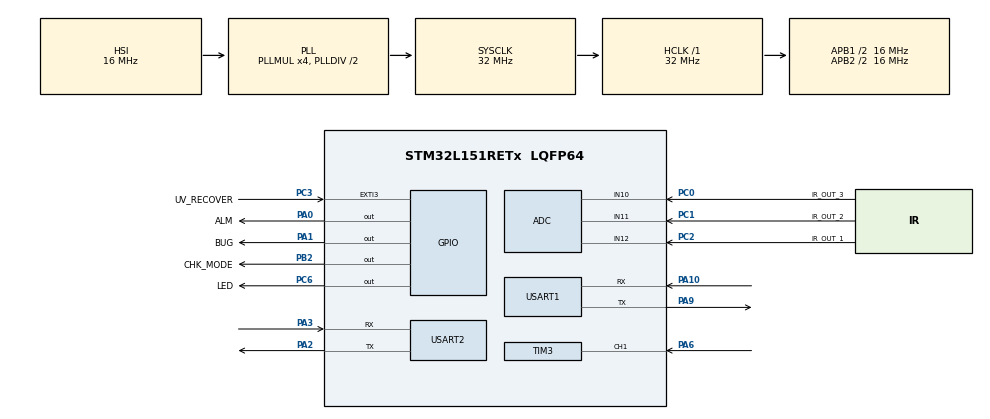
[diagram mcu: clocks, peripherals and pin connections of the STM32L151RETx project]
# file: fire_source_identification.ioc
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ADC.Channel-0\#ChannelRegularConversion=ADC_CHANNEL_12
ADC.Channel-1\#ChannelRegularConversion=ADC_CHANNEL_11
ADC.Channel-2\#ChannelRegularConversion=ADC_CHANNEL_10
ADC.ClockPrescaler=ADC_CLOCK_ASYNC_DIV4
ADC.ContinuousConvMode=ENABLE
ADC.DMAContinuousRequests=ENABLE
ADC.DiscontinuousConvMode=DISABLE
ADC.EOCSelection=ADC_EOC_SEQ_CONV
ADC.InjNumberOfConversion=0
ADC.NbrOfConversion=3
ADC.NbrOfConversionFlag=1
ADC.Rank-0\#ChannelRegularConversion=1
ADC.Rank-1\#ChannelRegularConversion=2
ADC.Rank-2\#ChannelRegularConversion=3
ADC.SamplingTime-0\#ChannelRegularConversion=ADC_SAMPLETIME_384CYCLES
ADC.SamplingTime-1\#ChannelRegularConversion=ADC_SAMPLETIME_384CYCLES
ADC.SamplingTime-2\#ChannelRegularConversion=ADC_SAMPLETIME_384CYCLES
ADC.ScanConvMode=ADC_SCAN_ENABLE
Dma.ADC.2.Direction=DMA_PERIPH_TO_MEMORY
Dma.ADC.2.Instance=DMA1_Channel1
Dma.ADC.2.MemDataAlignment=DMA_MDATAALIGN_HALFWORD
Dma.ADC.2.MemInc=DMA_MINC_ENABLE
Dma.ADC.2.Mode=DMA_CIRCULAR
Dma.ADC.2.PeriphDataAlignment=DMA_PDATAALIGN_HALFWORD
Dma.ADC.2.PeriphInc=DMA_PINC_DISABLE
Dma.ADC.2.Priority=DMA_PRIORITY_LOW
Dma.Request0=USART1_RX
Dma.Request1=USART1_TX
Dma.Request2=ADC
Dma.Request3=USART2_RX
Dma.Request4=USART2_TX
Dma.USART1_RX.0.Direction=DMA_PERIPH_TO_MEMORY
Dma.USART1_RX.0.Instance=DMA1_Channel5
Dma.USART1_RX.0.MemDataAlignment=DMA_MDATAALIGN_BYTE
Dma.USART1_RX.0.MemInc=DMA_MINC_ENABLE
Dma.USART1_RX.0.Mode=DMA_CIRCULAR
Dma.USART1_RX.0.PeriphDataAlignment=DMA_PDATAALIGN_BYTE
Dma.USART1_RX.0.PeriphInc=DMA_PINC_DISABLE
Dma.USART1_RX.0.Priority=DMA_PRIORITY_LOW
Dma.USART1_TX.1.Direction=DMA_MEMORY_TO_PERIPH
Dma.USART1_TX.1.Instance=DMA1_Channel4
Dma.USART1_TX.1.MemDataAlignment=DMA_MDATAALIGN_BYTE
Dma.USART1_TX.1.MemInc=DMA_MINC_ENABLE
Dma.USART1_TX.1.Mode=DMA_NORMAL
Dma.USART1_TX.1.PeriphDataAlignment=DMA_PDATAALIGN_BYTE
Dma.USART1_TX.1.PeriphInc=DMA_PINC_DISABLE
Dma.USART1_TX.1.Priority=DMA_PRIORITY_LOW
Dma.USART2_RX.3.Direction=DMA_PERIPH_TO_MEMORY
Dma.USART2_RX.3.Instance=DMA1_Channel6
Dma.USART2_RX.3.MemDataAlignment=DMA_MDATAALIGN_BYTE
Dma.USART2_RX.3.MemInc=DMA_MINC_ENABLE
Dma.USART2_RX.3.Mode=DMA_CIRCULAR
Dma.USART2_RX.3.PeriphDataAlignment=DMA_PDATAALIGN_BYTE
Dma.USART2_RX.3.PeriphInc=DMA_PINC_DISABLE
Dma.USART2_RX.3.Priority=DMA_PRIORITY_MEDIUM
Dma.USART2_TX.4.Direction=DMA_MEMORY_TO_PERIPH
Dma.USART2_TX.4.Instance=DMA1_Channel7
Dma.USART2_TX.4.MemDataAlignment=DMA_MDATAALIGN_BYTE
Dma.USART2_TX.4.MemInc=DMA_MINC_ENABLE
Dma.USART2_TX.4.Mode=DMA_NORMAL
Dma.USART2_TX.4.PeriphDataAlignment=DMA_PDATAALIGN_BYTE
Dma.USART2_TX.4.PeriphInc=DMA_PINC_DISABLE
Dma.USART2_TX.4.Priority=DMA_PRIORITY_MEDIUM
IWDG.Prescaler=IWDG_PRESCALER_256
IWDG.Reload=1563
Mcu.Family=STM32L1
Mcu.Name=STM32L151RETx
Mcu.Package=LQFP64
NVIC.DMA1_Channel1_IRQn=true\:0\:0\:false\:false\:true\:false\:true\:true
NVIC.DMA1_Channel4_IRQn=true\:0\:0\:false\:false\:true\:false\:true\:true
NVIC.DMA1_Channel5_IRQn=true\:0\:0\:false\:false\:true\:false\:true\:true
NVIC.DMA1_Channel6_IRQn=true\:0\:0\:false\:false\:true\:false\:true\:true
NVIC.DMA1_Channel7_IRQn=true\:0\:0\:false\:false\:true\:false\:true\:true
NVIC.EXTI3_IRQn=true\:4\:0\:true\:false\:true\:true\:true\:true
NVIC.PriorityGroup=NVIC_PRIORITYGROUP_4
NVIC.TIM3_IRQn=true\:3\:0\:true\:false\:true\:true\:true\:true
NVIC.TIM5_IRQn=true\:2\:0\:true\:false\:true\:true\:true\:true
NVIC.TIM6_IRQn=true\:2\:0\:true\:false\:true\:true\:true\:true
NVIC.USART1_IRQn=true\:5\:0\:true\:false\:true\:false\:true\:true
NVIC.USART2_IRQn=true\:5\:0\:true\:false\:true\:true\:true\:true
PA0-WKUP1.GPIO_Label=ALM
PA0-WKUP1.GPIO_OutputLevel=GPIO_PIN_SET
PA0-WKUP1.GPIO_PuPd=GPIO_PULLUP
PA0-WKUP1.GPIO_Speed=GPIO_SPEED_FREQ_HIGH
PA0-WKUP1.PinState=GPIO_PIN_SET
PA0-WKUP1.Signal=GPIO_Output
PA1.GPIO_Label=BUG
PA1.GPIO_PuPd=GPIO_PULLUP
PA1.GPIO_Speed=GPIO_SPEED_FREQ_HIGH
PA1.PinState=GPIO_PIN_SET
PA1.Signal=GPIO_Output
PA10.Mode=Asynchronous
PA10.Signal=USART1_RX
PA13.Mode=Serial_Wire
PA13.Signal=SYS_JTMS-SWDIO
PA14.Mode=Serial_Wire
PA14.Signal=SYS_JTCK-SWCLK
PA2.Mode=Asynchronous
PA2.Signal=USART2_TX
PA3.Mode=Asynchronous
PA3.Signal=USART2_RX
PA6.Signal=S_TIM3_CH1
PA9.Mode=Asynchronous
PA9.Signal=USART1_TX
PB2.GPIO_Label=CHK_MODE
PB2.Signal=GPIO_Output
PC0.GPIO_Label=IR_OUT_3
PC0.Mode=IN10
PC0.Signal=ADC_IN10
PC1.GPIO_Label=IR_OUT_2
PC1.Mode=IN11
PC1.Signal=ADC_IN11
PC14-OSC32_IN.Mode=LSE-External-Oscillator
PC14-OSC32_IN.Signal=RCC_OSC32_IN
PC15-OSC32_OUT.Mode=LSE-External-Oscillator
PC15-OSC32_OUT.Signal=RCC_OSC32_OUT
PC2.GPIO_Label=IR_OUT_1
PC2.Mode=IN12
PC2.Signal=ADC_IN12
PC3.GPIO_Label=UV_RECOVER
PC3.GPIO_ModeDefaultEXTI=GPIO_MODE_IT_FALLING
PC3.GPIO_PuPd=GPIO_PULLUP
PC3.Signal=GPXTI3
PC6.GPIO_Label=LED
PC6.GPIO_PuPd=GPIO_PULLUP
PC6.GPIO_Speed=GPIO_SPEED_FREQ_HIGH
PC6.Signal=GPIO_Output
ProjectManager.HeapSize=0x200
ProjectManager.StackSize=0x400
ProjectManager.TargetToolchain=MDK-ARM V5.32
RCC.48MHZClocksFreq_Value=32000000
RCC.AHBFreq_Value=32000000
RCC.APB1CLKDivider=RCC_HCLK_DIV2
RCC.APB1Freq_Value=16000000
RCC.APB1TimFreq_Value=32000000
RCC.APB2CLKDivider=RCC_HCLK_DIV2
RCC.APB2Freq_Value=16000000
RCC.APB2TimFreq_Value=32000000
RCC.HCLKFreq_Value=32000000
RCC.HSE_VALUE=8000000
RCC.HSI_VALUE=16000000
RCC.MSI_VALUE=2097000
RCC.PLLMUL=RCC_PLL_MUL4
RCC.SYSCLKFreq_VALUE=32000000
RCC.SYSCLKSource=RCC_SYSCLKSOURCE_PLLCLK
RCC.VCOOutputFreq_Value=64000000
SH.S_TIM3_CH1.0=TIM3_CH1,Input_Capture1_from_TI1
TIM3.AutoReloadPreload=TIM_AUTORELOAD_PRELOAD_ENABLE
TIM3.Channel-Input_Capture1_from_TI1=TIM_CHANNEL_1
TIM3.Channel-Input_Capture2_from_TI1_63=TIM_CHANNEL_2
TIM3.ICPolarity_CH2=TIM_INPUTCHANNELPOLARITY_FALLING
TIM3.Prescaler=32-1
TIM3.TIM_MasterSlaveMode=TIM_MASTERSLAVEMODE_DISABLE
TIM5.AutoReloadPreload=TIM_AUTORELOAD_PRELOAD_ENABLE
TIM5.Period=500-1
TIM5.Prescaler=32000-1
TIM6.AutoReloadPreload=TIM_AUTORELOAD_PRELOAD_ENABLE
TIM6.Period=1000-1
TIM6.Prescaler=32-1
USART1.VirtualMode=VM_ASYNC
USART2.VirtualMode=VM_ASYNC
VP_IWDG_VS_IWDG.Mode=IWDG_Activate
VP_TIM3_VS_ClockSourceINT.Mode=Internal
VP_TIM3_VS_indirect_ch1.Mode=Input_Capture2_from_TI1_63
VP_TIM5_VS_ClockSourceINT.Mode=Internal
VP_TIM6_VS_ClockSourceINT.Mode=Enable_Timer
board=custom

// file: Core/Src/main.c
/* USER CODE BEGIN Header */
/**
  ******************************************************************************
  * @file           : main.c
  * @brief          : Main program body
  ******************************************************************************
  * @attention
  *
  * Copyright (c) 2026 STMicroelectronics.
  * All rights reserved.
  *
  * This software is licensed under terms that can be found in the LICENSE file
  * in the root directory of this software component.
  * If no LICENSE file comes with this software, it is provided AS-IS.
  *
  ******************************************************************************
  */
/* USER CODE END Header */
#include "main.h"
#include "adc.h"
#include "dma.h"
#include "iwdg.h"
#include "tim.h"
#include "usart.h"
#include "gpio.h"

/* USER CODE BEGIN Includes */
#include "hal_alarm.h"
#include "hal_board.h"
#include "hal_led.h"
#include "hal_tim.h"
#include "hal_uart.h"
#include "hal_iwdg.h"

#include "ap_adc.h"
#include "ap_eeprom.h"
#include "ap_fault.h"
#include "ap_ir.h"
#include "ap_uart_protocol.h"
#include "ap_uv.h"
#include "cmd.h"
/* USER CODE END Includes */

/* USER CODE BEGIN PV */

/* ISR → 主循环标志 (ISR 只置位, 主循环消费) */
static volatile uint8_t  test_print_pending;    /* 10ms 测试打印标志 */
static uint8_t           ir_print_enabled;      /* IR ADC 打印开关 */
static uint8_t           uv_print_enabled;      /* UV 脉冲打印开关 */
static uint8_t           show_mode_enabled;     /* 1: 演示模式仅用UV报警，由EEPROM恢复 */
static uint8_t           test_mode_enabled;     /* 1: 运行时测试模式，不执行报警算法 */
static uint8_t           alarm_output_active;   /* 最终ALM锁存状态，仅RECOVER/复位清除 */
static volatile uint8_t  recover_irq_pending;   /* EXTI只锁存事件，主循环执行完整恢复 */
static uint8_t           recover_low_latched;   /* 持续低电平只允许触发一次恢复 */

/* USER CODE END PV */

void SystemClock_Config(void);

/* USER CODE BEGIN 0 */

/**
  * @brief  100Hz: ADC→去直流→均方值
  */
static void test_print_data(void)
{
    AP_IR_TestPrint(HAL_GetTick());
}

/**
  * @brief  消费一次低有效RECOVER事件并清除全部火警状态。
  * @note   即使脉冲在主循环执行前已经结束，EXTI锁存标志仍可保留该事件。
  *         持续低电平只触发一次，输入恢复高电平后才允许下一次恢复；
  *         算法状态和历史窗口清零必须留在主循环，禁止在中断中执行。
  */
static void recover_input_task(void)
{
    if (recover_irq_pending == 0U) {
        /* 输入恢复高电平后，重新允许下一次下降沿恢复事件。 */
        if (HAL_GPIO_ReadPin(UV_RECOVER_GPIO_Port, UV_RECOVER_Pin) != GPIO_PIN_RESET) {
            recover_low_latched = 0U;
        }
        return;
    }

    recover_irq_pending = 0U;
    if (recover_low_latched != 0U) {
        return;
    }

    {
        uint32_t now = HAL_GetTick();

        /* 手动恢复同时清除两个探测器状态和最终锁存报警输出。 */
        AP_IR_Reset();
        AP_UV_Process_Reset();
        BSP_ALARM_Reset();
        alarm_output_active = 0U;
        recover_low_latched = 1U;

#if defined(AP_ALGO_DEBUG_ENABLE)
        BSP_UART_Printf("[RECOVER] T%lu alarm states reset\r\n", (unsigned long)now);
#else
        (void)now;
#endif
    }
}

static void test_print_marker(const char *msg)
{
    BSP_UART_Printf("\r\n=== MARKER");
    if (msg != NULL && msg[0] != '\0') {
        BSP_UART_Printf(" [%s]", msg);
    }
    BSP_UART_Printf(" @ t=%lums ===\r\n\r\n", HAL_GetTick());
}

/* ---- 对外接口 (供 cmd.c 调用) ---- */
void TEST_SetIrEnabled(uint8_t en) { ir_print_enabled = en; }
uint8_t TEST_GetIrEnabled(void) { return ir_print_enabled; }
void TEST_SetUvEnabled(uint8_t en) { uv_print_enabled = en; }
uint8_t TEST_GetUvEnabled(void) { return uv_print_enabled; }

void TEST_InsertMarker(const char *msg) { test_print_marker(msg); }

int APP_SetShowMode(uint8_t en)
{
    uint8_t next_mode = (en != 0U) ? 1U : 0U;

    if (show_mode_enabled == next_mode) {
        return 0;
    }

    AP_EEPROM_System_Param_t config = *AP_EEPROM_System_Get();
    config.show_mode = next_mode;
    /*
     * 命令切换属于低频操作，允许在主循环写DATA EEPROM。
     * 必须先保存成功再切换运行状态，防止RAM模式与掉电配置不一致。
     */
    if (AP_EEPROM_System_Save(&config) != 0) {
        return -1;
    }

    show_mode_enabled = next_mode;
    /*
     * 演示模式暂停IR任务。进入和退出时均清空IR状态、滤波器及历史窗口，
     * 防止恢复双传感器判断后使用切换前的旧FIRE状态或过期特征。
     */
    AP_IR_Reset();
    return 0;
}

uint8_t APP_GetShowMode(void)
{
    return show_mode_enabled;
}

int APP_SetTestMode(uint8_t en)
{
    uint8_t next_mode = (en != 0U) ? 1U : 0U;
    if (test_mode_enabled == next_mode) return 0;

    AP_EEPROM_System_Param_t config = *AP_EEPROM_System_Get();
    config.test_mode = next_mode;
    /* 与演示模式一致，必须先持久化成功再改变主循环执行路径。 */
    if (AP_EEPROM_System_Save(&config) != 0) return -1;

    test_mode_enabled = next_mode;
    if (next_mode == 0U) {
        /* 离开测试模式时强制恢复USART2正式协议，防止诊断模式遗留导致失联。 */
        AP_UART_SetDiagnosticMode(false);
    }
    /*
     * 测试/应用算法使用不同的数据推进方式，切换时清空检测上下文；
     * 已锁存的整机火警只能由RECOVER/复位清除，模式命令不得隐式消警。
     */
    AP_IR_Reset();
    AP_UV_Process_Reset();
    test_print_pending = 0U;
    return 0;
}

uint8_t APP_GetTestMode(void)
{
    return test_mode_enabled;
}

int APP_SetIrProfileEnabled(uint8_t en)
{
    uint8_t next = (en != 0U) ? 1U : 0U;
    if (AP_IR_GetProfileEnabled() == next) return 0;

    AP_EEPROM_System_Param_t config = *AP_EEPROM_System_Get();
    config.ir_profile_enabled = next;
    if (AP_EEPROM_System_Save(&config) != 0) return -1;

    /* EEPROM成功后再清理并切换包络分类器，保持掉电配置与当前行为一致。 */
    AP_IR_SetProfileEnabled(next);
    return 0;
}

uint8_t APP_GetIrProfileEnabled(void)
{
    return AP_IR_GetProfileEnabled();
}

/**
  * @brief 更新集中故障状态，并把ADC模块故障映射到整机故障位图。
  * @note  最终火警锁存期间仍监视电源轨、冻结和DMA，但暂停静态偏置判断，
  *        防止火焰信号改变直流均值后产生无意义的偏置故障。
  */
static void app_fault_task(void)
{
    uint32_t adc_fault_bits = 0U;
    uint8_t adc_flags;
    uint8_t rail_mask;

    AP_Fault_Task(HAL_GetTick());
    (void)AP_ADC_FaultMonitorTask(HAL_GetTick(), alarm_output_active);
    rail_mask = AP_ADC_GetRailFaultMask();
    adc_flags = AP_ADC_GetFaultFlags();

    if ((rail_mask & (1U << 0)) != 0U) adc_fault_bits |= AP_FAULT_ADC_CH38_RANGE_ERROR;
    if ((rail_mask & (1U << 1)) != 0U) adc_fault_bits |= AP_FAULT_ADC_CH45_RANGE_ERROR;
    if ((rail_mask & (1U << 2)) != 0U) adc_fault_bits |= AP_FAULT_ADC_CH50_RANGE_ERROR;
    if ((adc_flags & AP_ADC_FAULT_DATA_STUCK) != 0U) adc_fault_bits |= AP_FAULT_ADC_DATA_STUCK;
    if ((adc_flags & AP_ADC_FAULT_BIAS) != 0U) adc_fault_bits |= AP_FAULT_ADC_BIAS_ERROR;
    if ((adc_flags & AP_ADC_FAULT_DMA) != 0U) adc_fault_bits |= AP_FAULT_ADC_DMA_ERROR;

    AP_Fault_Update(AP_FAULT_ADC_CH38_RANGE_ERROR |
                    AP_FAULT_ADC_CH45_RANGE_ERROR |
                    AP_FAULT_ADC_CH50_RANGE_ERROR |
                    AP_FAULT_ADC_DATA_STUCK |
                    AP_FAULT_ADC_BIAS_ERROR |
                    AP_FAULT_ADC_DMA_ERROR,
                    adc_fault_bits);
}

uint8_t APP_GetAlarmActive(void)
{
    return alarm_output_active;
}

/**
  * @brief 应用已经校验的SYSTEM EEPROM副本，不重复写入EEPROM。
  * @note  重新配置会清空探测器历史，但不得清除已锁存的最终火警；
  *        最终火警只允许通过RECOVER输入或MCU复位清除。
  */
void APP_ApplySystemConfig(void)
{
    const AP_EEPROM_System_Param_t *system = AP_EEPROM_System_Get();

    show_mode_enabled = (uint8_t)system->show_mode;
    test_mode_enabled = (uint8_t)system->test_mode;
    AP_IR_SetProfileEnabled((uint8_t)system->ir_profile_enabled);
    AP_IR_Reset();
    AP_UV_Process_Reset();
}

/**
  * @brief  恢复全部可配置EEPROM参数组，并应用校验通过的RAM副本。
  * @retval 全部成功返回0；存在整机火警或任一参数组失败时返回-1。
  * @note   仅操作当前四个配置扇区，不触碰设备身份及后续生产/标定扇区。
  */
int APP_FactoryReset(void)
{
    const AP_EEPROM_UV_Param_t *uv;
    const AP_EEPROM_IR_Param_t *ir;
    uint16_t failed_groups;

    if (alarm_output_active != 0U) {
        return -1;
    }

    failed_groups = AP_EEPROM_ResetAll();
    uv = AP_EEPROM_UV_Get();
    ir = AP_EEPROM_IR_Get();

    /* 每组都应用其校验后的RAM副本；写失败的组继续使用原有效配置。 */
    APP_ApplySystemConfig();
    AP_UV_SetConfig(uv->thr_min, uv->thr_max, uv->win_min, uv->win_max,
                    uv->cfm_min, uv->cfm_max);
    AP_UV_SetLevel((uint8_t)uv->sensitivity);
    AP_UV_SetPrintWindow(uv->print_window_ms);
    BSP_TIM_IC_SetPulseRange((uint16_t)uv->pw_min_us,
                             (uint16_t)uv->pw_max_us);
    AP_IR_SetConfig(ir->power_min, ir->power_max,
                    ir->r38_threshold, ir->r50_threshold,
                    ir->freq_low_x10, ir->freq_high_x10,
                    ir->cfm_min, ir->cfm_max);
    AP_IR_SetLevel((uint8_t)ir->sensitivity);

    /* 配置整体替换后，清空两套探测器历史，禁止旧窗口继续参与判断。 */
    AP_IR_Reset();
    AP_UV_Process_Reset();
    return (failed_groups == 0U) ? 0 : -1;
}

/* USER CODE END 0 */

int main(void)
{

  /* MCU Configuration--------------------------------------------------------*/

  /* Reset of all peripherals, Initializes the Flash interface and the Systick. */
  HAL_Init();

  /* Configure the system clock */
  SystemClock_Config();

  /* Initialize all configured peripherals */
  MX_GPIO_Init();
  MX_DMA_Init();
  MX_ADC_Init();
  MX_IWDG_Init();
  MX_USART1_UART_Init();
  MX_TIM5_Init();
  MX_TIM6_Init();
  MX_USART2_UART_Init();
  MX_TIM3_Init();
  /* USER CODE BEGIN 2 */
  if (BSP_BoardInit() != BSP_BOARD_OK) {
    Error_Handler();
  }

  AP_Fault_Init(HAL_GetTick()); /* 统一故障位先接管BUG，并保存最近复位原因。 */
  (void)AP_EEPROM_Init(); /* 逐组错误已由EEPROM模块写入集中故障位。 */
  AP_IR_Init();        // 从 EEPROM 加载参数并初始化红外检测
  AP_UV_Init(NULL);    // 从 EEPROM 读取参数并初始化紫外检测
  if (AP_ADC_Init() != BSP_ADC_OK) {
    AP_Fault_Set(AP_FAULT_ADC_INIT_ERROR);
  }
  AP_UART_ProtocolInit();

  /* EEPROM已完成CRC/范围校验，运行模式和包络开关均恢复断电前配置。 */
  const AP_EEPROM_System_Param_t *system_config = AP_EEPROM_System_Get();
  test_print_pending = 0U;
  ir_print_enabled = 0U;
  uv_print_enabled = 0U;
  alarm_output_active = 0U;
  recover_irq_pending = 0U;
  recover_low_latched = 0U;
  show_mode_enabled = (uint8_t)system_config->show_mode;
  test_mode_enabled = (uint8_t)system_config->test_mode;
  AP_IR_SetProfileEnabled((uint8_t)system_config->ir_profile_enabled);
  BSP_UART_Printf("START MODE=%s SHOW=%s PROFILE=%s\r\n",
                  test_mode_enabled ? "TEST" : "APP",
                  show_mode_enabled ? "on" : "off",
                  APP_GetIrProfileEnabled() ? "on" : "off");
  /* USER CODE END 2 */

  /* Infinite loop */
  /* USER CODE BEGIN WHILE */
  while (1)
  {
    recover_input_task(); /* RECOVER低脉冲清除IR、UV及最终ALM锁存状态。 */

    /*
     * USART2配置协议只在主循环执行：先消费已到达的DMA数据，再检查会话超时，
     * 避免10s边界上已经到达的合法请求被误判为未建联。RX仍限制每轮32字节。
     */
    AP_UART_RxTask();
    AP_UART_TxTask();
    AP_UART_CheckTimeout();

    cmd_parser_task(); // 命令行解析

    if (APP_GetTestMode()) {
      /* 运行时测试模式: 仅定时采集/打印，不推进UV/IR报警状态机。 */
      if (test_print_pending) {
        test_print_pending = 0;
        if (ir_print_enabled) {
            test_print_data();
        }
        if (uv_print_enabled) {
            static uint32_t uv_cnt = 0;
            uv_cnt++;
            if (uv_cnt >= 50) {
                uv_cnt = 0;
                AP_UV_PrintData(HAL_GetTick());
            }
        }
      }
    } else {
      /* ================================================================ */
      /*  应用模式: 紫外检测 + 红外检测 + 最终组合确认                     */
      /* ================================================================ */
      AP_UV_Task();
      /*
       * 演示模式仅推进UV状态机以缩短演示报警时间；IR定时中断仍只置单bit标志，
       * 不会形成采样积压，退出演示模式时由APP_SetShowMode()重新清空IR上下文。
       */
      if (!APP_GetShowMode()) {
          AP_IR_Task();
      }

      /* 正常模式要求UV&&IR；演示模式只要求UV，演示开关不改变传感器内部算法。 */
      {
        uint8_t show_mode = APP_GetShowMode();
        uint8_t now_fire = (AP_UV_GetState() == UV_STATE_FIRE)
                        && (show_mode || (AP_IR_GetState() == IR_STATE_FIRE));
        if (now_fire && !alarm_output_active) {
            BSP_ALARM_Set();              // 单路ALM输出：低电平表示火警
            alarm_output_active = 1U;
#if defined(AP_ALGO_DEBUG_ENABLE)
            /* 仅记录最终组合报警沿，便于区分单传感器FIRE与实际输出报警。 */
            BSP_UART_Printf("[ALARM] T%lu ON MODE=%s UV=%u IR=%u\r\n",
                            (unsigned long)HAL_GetTick(),
                            show_mode ? "SHOW" : "NORMAL",
                            (unsigned int)AP_UV_GetState(),
                            (unsigned int)AP_IR_GetState());
#endif
        }
        /* IR/UV后续掉出不自动消警，最终ALM保持到RECOVER低脉冲或MCU复位。 */
      }
    }

    /* 集中故障任务放在探测任务之后，使本轮刚锁存的火警立即暂停偏置检测。 */
    app_fault_task();
    BSP_IWDG_CheckAndRefresh();   // 检查标志位并喂狗
    /* USER CODE END WHILE */

  }
}

void SystemClock_Config(void)
{
  RCC_OscInitTypeDef RCC_OscInitStruct = {0};
  RCC_ClkInitTypeDef RCC_ClkInitStruct = {0};

  /** Configure the main internal regulator output voltage
  */
  __HAL_PWR_VOLTAGESCALING_CONFIG(PWR_REGULATOR_VOLTAGE_SCALE1);

  /** Initializes the RCC Oscillators according to the specified parameters
  * in the RCC_OscInitTypeDef structure.
  */
  RCC_OscInitStruct.OscillatorType = RCC_OSCILLATORTYPE_HSI|RCC_OSCILLATORTYPE_LSI;
  RCC_OscInitStruct.HSIState = RCC_HSI_ON;
  RCC_OscInitStruct.HSICalibrationValue = RCC_HSICALIBRATION_DEFAULT;
  RCC_OscInitStruct.LSIState = RCC_LSI_ON;
  RCC_OscInitStruct.PLL.PLLState = RCC_PLL_ON;
  RCC_OscInitStruct.PLL.PLLSource = RCC_PLLSOURCE_HSI;
  RCC_OscInitStruct.PLL.PLLMUL = RCC_PLL_MUL4;
  RCC_OscInitStruct.PLL.PLLDIV = RCC_PLL_DIV2;
  if (HAL_RCC_OscConfig(&RCC_OscInitStruct) != HAL_OK)
  {
    Error_Handler();
  }

  /** Initializes the CPU, AHB and APB buses clocks
  */
  RCC_ClkInitStruct.ClockType = RCC_CLOCKTYPE_HCLK|RCC_CLOCKTYPE_SYSCLK
                              |RCC_CLOCKTYPE_PCLK1|RCC_CLOCKTYPE_PCLK2;
  RCC_ClkInitStruct.SYSCLKSource = RCC_SYSCLKSOURCE_PLLCLK;
  RCC_ClkInitStruct.AHBCLKDivider = RCC_SYSCLK_DIV1;
  RCC_ClkInitStruct.APB1CLKDivider = RCC_HCLK_DIV2;
  RCC_ClkInitStruct.APB2CLKDivider = RCC_HCLK_DIV2;

  if (HAL_RCC_ClockConfig(&RCC_ClkInitStruct, FLASH_LATENCY_1) != HAL_OK)
  {
    Error_Handler();
  }
}

/* USER CODE BEGIN 4 */
/* ========================================================================== */
/*          HAL 定时器回调覆盖 — 由 stm32l1xx_it.c 中的 IRQHandler 触发        */
/* ========================================================================== */

/**
  * @brief  输入捕获回调 — 转发给 BSP_TIM_IC_CaptureHandler（TIM3）
  */
void HAL_TIM_IC_CaptureCallback(TIM_HandleTypeDef *htim)
{
    BSP_TIM_IC_CaptureHandler(htim);
}

/** @brief 记录一次完整三通道ADC DMA扫描，作为采集健康监视依据。 */
void HAL_ADC_ConvCpltCallback(ADC_HandleTypeDef *hadc_handle)
{
  BSP_ADC_ConvCpltHandler(hadc_handle);
}

/** @brief 记录ADC/HAL错误事件，故障确认仍由主循环完成。 */
void HAL_ADC_ErrorCallback(ADC_HandleTypeDef *hadc_handle)
{
  BSP_ADC_ErrorHandler(hadc_handle);
}

/**
  * @brief  锁存低有效RECOVER下降沿，交由主循环处理。
  * @note   EXTI中禁止清空探测历史或执行串口打印。
  */
void HAL_GPIO_EXTI_Callback(uint16_t GPIO_Pin)
{
  if (GPIO_Pin == UV_RECOVER_Pin) {
    recover_irq_pending = 1U;
  }
}

void task_10ms(void)
{
  AP_IR_FeedIsr();        // 仅置位 volatile 标志 (极轻量)
  test_print_pending = 1; // 主循环消费, 执行 test_print_data()
}

/**
  * @brief  更新事件回调 — TIM5 驱动 LED，TIM2 给 TIM 溢出计数
  */
void HAL_TIM_PeriodElapsedCallback(TIM_HandleTypeDef *htim)
{
  static uint32_t cnt_task = 0;
    if (htim->Instance == TIM5) {
        BSP_LED_TickHandler();
        return;
    }
    if (htim->Instance == TIM6) {
        cnt_task ++;
        if (cnt_task % 10 == 0)
        {
          task_10ms();
        }
        if (cnt_task % 2000 == 0)          // 每 2000ms 请求喂狗
        {
          BSP_IWDG_RequestFeed();
        }
        return;
    }

    BSP_TIM_IC_PeriodHandler(htim);
}
/* USER CODE END 4 */

void Error_Handler(void)
{
  /* USER CODE BEGIN Error_Handler_Debug */
  /* 致命卡死由IWDG复位恢复；可监视的当前故障统一由AP_Fault聚合。 */
  __disable_irq();
  while (1)
  {
  }
  /* USER CODE END Error_Handler_Debug */
}
